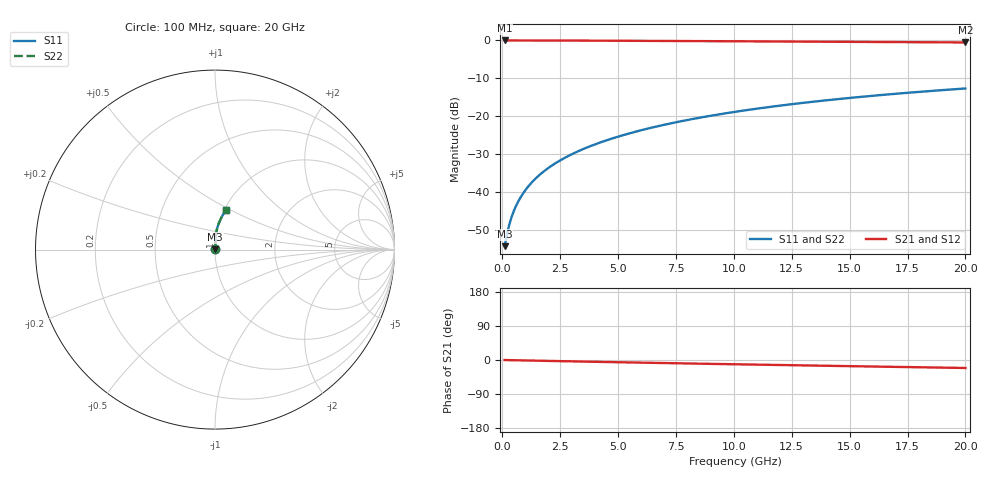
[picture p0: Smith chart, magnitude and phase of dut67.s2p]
! Touchstone file exported from HFSS 2024.1.0
!  File:  C:/UserFiles/LocalFiles/RDL_TSV_Batchsim/temp_RDL_bottom_67_1778693697.aedt
!  Generated:  01:37:43 AM May 14, 2026
!  Design:  RDL_bottom
!  Project:  temp_RDL_bottom_67_1778693697
!  Setup:  Setup1
!  Solution:  Sweep
! Variables:
!  dtsv = 10.80580581um
!  hbump = 3um
!  htsv = 84.95um
!  ldown = 251.61um
!  lrdl = 100um
!  p = 40
!  p1 = 53.99um
!  rhole = 1um
!  t = 450um
!  tdown = 3.01um
!  trdl = 3.915915916um
!  wdown = 22.72um
!  wrdl = 20um
# GHz S MA R 50.000000
! Terminal data exported
! Port[1] = RDL1_T1
! Port[2] = RDL1_T2
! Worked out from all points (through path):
!   200 points, 100 MHz to 20 GHz, reference 50 ohm
!   highest |S21| = -0.01 dB at 100 MHz (marker M1); lowest = -0.5 dB at 20 GHz (marker M2)
!   group delay of S21, straight-line fit = 2.9 ps
!   lowest |S11| = -54.3 dB at 100 MHz (marker M3), VSWR 1.00, Z = 50.2 + j0.112 ohm
!   |S11| at or under -10 dB: start of sweep to end of sweep
!   |S22| runs from -54.3 to -12.7 dB; largest |S21 - S12| = 3e-15
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0.1  0.001923 35.6  0.9984 -0.1  0.9984 -0.1  0.001923 35.6
! Gamma 0 0 0 0
! Port Impedance 50 0 50 0
0.2  0.002741 53.9  0.9984 -0.3  0.9984 -0.3  0.002741 53.9
0.3  0.003682 62.9  0.9983 -0.4  0.9983 -0.4  0.003682 62.9
0.4  0.004652 68.1  0.9982 -0.5  0.9982 -0.5  0.004652 68.1
0.5  0.00563 71.6  0.9981 -0.6  0.9981 -0.6  0.00563 71.6
0.6  0.006612 74.1  0.998 -0.7  0.998 -0.7  0.006612 74.1
0.8  0.008591 77.5  0.9979 -1.0  0.9979 -1.0  0.008591 77.5
1.1  0.01159 80.7  0.9976 -1.3  0.9976 -1.3  0.01159 80.7
1.3  0.01362 82.1  0.9974 -1.6  0.9974 -1.6  0.01362 82.1
1.6  0.01669 83.7  0.9971 -1.9  0.9971 -1.9  0.01669 83.7
2.1  0.02187 85.3  0.9964 -2.5  0.9964 -2.5  0.02187 85.3
2.7  0.0282 86.5  0.9954 -3.3  0.9954 -3.3  0.0282 86.5
3.5  0.03684 87.3  0.9937 -4.2  0.9937 -4.2  0.03684 87.3
4.2  0.04459 87.7  0.992 -5.0  0.992 -5.0  0.04459 87.7
5  0.05364 87.8  0.9898 -5.9  0.9898 -5.9  0.05364 87.8
5.9  0.06406 87.6  0.9872 -6.9  0.9872 -6.9  0.06406 87.6
6.8  0.07468 87.2  0.9845 -7.9  0.9845 -7.9  0.07468 87.2
8.4  0.09393 86.1  0.9793 -9.6  0.9793 -9.6  0.09393 86.1
10.1  0.1147 84.5  0.9738 -11.4  0.9738 -11.4  0.1147 84.5
13.4  0.1548 81.1  0.9629 -14.7  0.9629 -14.7  0.1548 81.1
16.7  0.1941 77.5  0.9517 -17.9  0.9517 -17.9  0.1941 77.5
20  0.232 74.0  0.9402 -21.1  0.9402 -21.1  0.232 74.0
